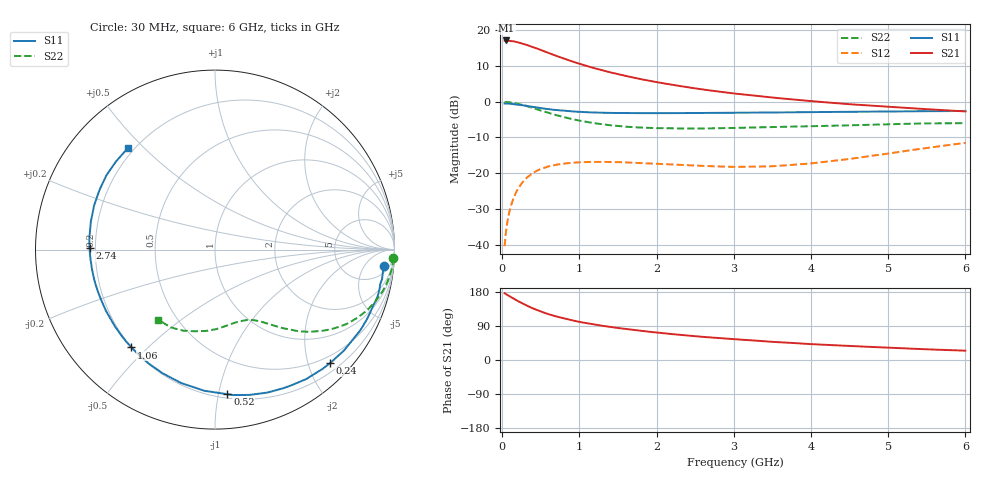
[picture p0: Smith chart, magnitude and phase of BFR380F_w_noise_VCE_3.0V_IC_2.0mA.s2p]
! Infineon Technologies  Discrete & RF Semiconductors
! BFR380F
! VCE =  3.0 V,  IC =  2.0 mA
! Common Emitter S-Parameters:  Nov 2015
# GHz  S  MA  R  50
!  f  S11  S21  S12  S22
! GHz  MAG  ANG  MAG  ANG  MAG  ANG  MAG  ANG
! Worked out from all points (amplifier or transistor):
!   206 points, 30 MHz to 6 GHz, reference 50 ohm
!   highest |S21| = 17.2 dB at 50 MHz (marker M1)
!   |S21| within 3 dB of that: start of sweep to 538.2 MHz
!   unconditionally stable (mu >= 1): 2.778 GHz to 5.093 GHz
!   at 200 MHz: K = 0.06, MSG = 20.6 dB, |S12| = -24.5 dB
!   at 1.56 GHz: K = 0.55, MSG = 12.2 dB, |S12| = -16.9 dB
!   at 6 GHz: K = 0.93, MSG = 4.4 dB, |S12| = -11.5 dB
!   lowest NFmin = 0.77 dB at 450 MHz
!   S11 on the Smith chart (normalised r, x): 30 MHz: 9, -15; 240 MHz: 0.36, -2.39; 520 MHz: 0.23, -1.06; 1.06 GHz: 0.20, -0.45; 2.74 GHz: 0.18, +0.01; 6 GHz: 0.18, +0.45
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0.03  0.9457 -5.7  7.167 176.2  0.0095 87.3  0.9953 -2.8
0.05  0.9452 -10.1  7.225 173.3  0.0159 84.9  0.9931 -4.7
0.09  0.94 -17.5  7.15 168.7  0.0283 80.4  0.9846 -8.4
0.15  0.9263 -28.9  7.01 161.6  0.046 74.2  0.9632 -13.8
0.24  0.9006 -44.7  6.624 151.6  0.0693 65.5  0.9165 -21.1
0.3  0.8824 -54.8  6.349 145.3  0.0828 60.4  0.8802 -25.5
0.36  0.8605 -63.9  6.026 139.6  0.0942 55.6  0.8417 -29.5
0.45  0.8322 -76.6  5.568 131.7  0.1084 49.5  0.7851 -34.4
0.52  0.8086 -85.1  5.206 126.5  0.1166 45.4  0.7427 -37.6
0.6  0.7888 -94.3  4.825 120.8  0.1246 41.2  0.6992 -41.0
0.78  0.7508 -111.1  4.095 110.6  0.1355 34.1  0.6167 -46.5
0.9  0.7345 -120.2  3.69 104.9  0.1399 30.4  0.5738 -49.5
1.04  0.7184 -129.3  3.304 99.1  0.1427 27.2  0.5351 -52.2
1.06  0.7168 -130.5  3.255 98.4  0.1429 26.8  0.5303 -52.6
1.4  0.6982 -147.0  2.581 87.1  0.1435 22.0  0.469 -58.3
1.7  0.6933 -157.5  2.181 79.2  0.1404 20.2  0.4405 -62.8
2.02  0.6934 -166.2  1.869 72.0  0.1357 20.2  0.4274 -67.5
2.74  0.6989 179.3  1.418 58.8  0.1247 26.3  0.4249 -78.2
3.1  0.703 173.6  1.274 53.6  0.1228 32.4  0.4325 -83.6
4.1  0.7179 158.3  1.001 41.0  0.141 51.5  0.4576 -97.7
5.1  0.733 144.2  0.837 31.6  0.1955 62.7  0.4871 -113.1
6  0.7453 130.7  0.732 24.6  0.2652 63.2  0.5028 -129.2
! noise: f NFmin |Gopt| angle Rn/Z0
0.45  0.77  0.52  39  0.21
0.9  0.9  0.48  80  0.18
1.8  1.47  0.5  138  0.12
1.9  1.65  0.52  142  0.12
2.4  1.96  0.53  160  0.1
3.5  2.86  0.58  -170  0.13
